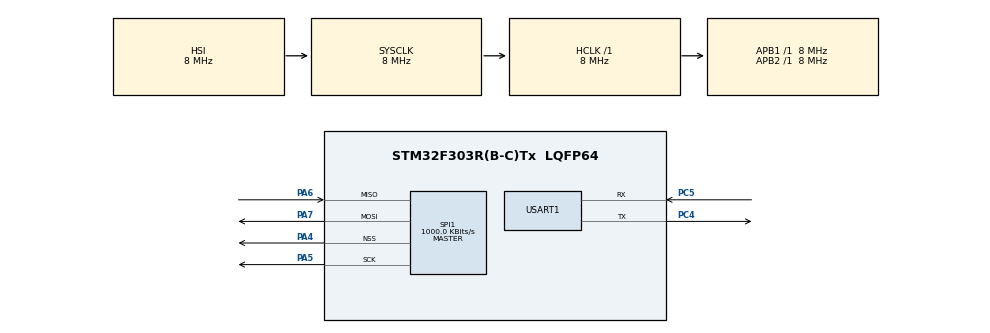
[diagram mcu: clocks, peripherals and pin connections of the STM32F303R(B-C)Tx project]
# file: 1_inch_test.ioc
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Dma.Request0=USART1_TX
Dma.Request1=SPI1_TX
Dma.SPI1_TX.1.Direction=DMA_MEMORY_TO_PERIPH
Dma.SPI1_TX.1.Instance=DMA1_Channel3
Dma.SPI1_TX.1.MemDataAlignment=DMA_MDATAALIGN_BYTE
Dma.SPI1_TX.1.MemInc=DMA_MINC_ENABLE
Dma.SPI1_TX.1.Mode=DMA_NORMAL
Dma.SPI1_TX.1.PeriphDataAlignment=DMA_PDATAALIGN_BYTE
Dma.SPI1_TX.1.PeriphInc=DMA_PINC_DISABLE
Dma.SPI1_TX.1.Priority=DMA_PRIORITY_LOW
Dma.USART1_TX.0.Direction=DMA_MEMORY_TO_PERIPH
Dma.USART1_TX.0.Instance=DMA1_Channel4
Dma.USART1_TX.0.MemDataAlignment=DMA_MDATAALIGN_BYTE
Dma.USART1_TX.0.MemInc=DMA_MINC_ENABLE
Dma.USART1_TX.0.Mode=DMA_NORMAL
Dma.USART1_TX.0.PeriphDataAlignment=DMA_PDATAALIGN_BYTE
Dma.USART1_TX.0.PeriphInc=DMA_PINC_DISABLE
Dma.USART1_TX.0.Priority=DMA_PRIORITY_LOW
FREERTOS.BinarySemaphores01=spi_txrx_cplt_,Static,spi_txrx_cplt_ControlBlock;usart_tx_event,Static,usart_txc_eventControlBlock;usart_rx_event,Static,usart_rx_eventControlBlock;spi_rx_cplt,Static,spi_rx_cpltControlBlock
FREERTOS.Queues01=usart_to_spi,10,uint8_t,0,Dynamic,NULL,NULL;spi_to_usart,10,uint8_t,0,Dynamic,NULL,NULL
FREERTOS.Tasks01=defaultTask,0,128,StartDefaultTask,Default,NULL,Dynamic,NULL,NULL;spi_task,2,512,spi_handle_function,Default,NULL,Dynamic,NULL,NULL;usart_task,0,512,usart_handle_function,Default,NULL,Dynamic,NULL,NULL
FREERTOS.configMAX_PRIORITIES=8
FREERTOS.configTOTAL_HEAP_SIZE=8192
FREERTOS.configUSE_COUNTING_SEMAPHORES=1
Mcu.Family=STM32F3
Mcu.Name=STM32F303R(B-C)Tx
Mcu.Package=LQFP64
NVIC.DMA1_Channel3_IRQn=true\:5\:0\:false\:false\:true\:true\:false\:true\:true
NVIC.DMA1_Channel4_IRQn=true\:5\:0\:false\:false\:true\:true\:false\:true\:true
NVIC.PriorityGroup=NVIC_PRIORITYGROUP_4
NVIC.SPI1_IRQn=true\:5\:0\:false\:false\:true\:true\:true\:true\:true
NVIC.USART1_IRQn=true\:5\:0\:false\:false\:true\:true\:true\:true\:true
PA4.Mode=NSS_Signal_Hard_Output
PA4.Signal=SPI1_NSS
PA5.Mode=Full_Duplex_Master
PA5.Signal=SPI1_SCK
PA6.Mode=Full_Duplex_Master
PA6.Signal=SPI1_MISO
PA7.Mode=Full_Duplex_Master
PA7.Signal=SPI1_MOSI
PC4.Mode=Asynchronous
PC4.Signal=USART1_TX
PC5.Mode=Asynchronous
PC5.Signal=USART1_RX
ProjectManager.HeapSize=0x200
ProjectManager.StackSize=0x400
ProjectManager.TargetToolchain=STM32CubeIDE
RCC.AHBFreq_Value=8000000
RCC.APB1Freq_Value=8000000
RCC.APB2Freq_Value=8000000
RCC.CortexFreq_Value=8000000
RCC.HSE_VALUE=8000000
RCC.HSI_VALUE=8000000
RCC.LSE_VALUE=32768
RCC.SYSCLKFreq_VALUE=8000000
SPI1.BaudRatePrescaler=SPI_BAUDRATEPRESCALER_8
SPI1.CalculateBaudRate=1000.0 KBits/s
SPI1.DataSize=SPI_DATASIZE_8BIT
SPI1.Direction=SPI_DIRECTION_2LINES
SPI1.Mode=SPI_MODE_MASTER
SPI1.VirtualNSS=VM_NSSHARD
SPI1.VirtualType=VM_MASTER
USART1.VirtualMode-Asynchronous=VM_ASYNC
VP_FREERTOS_VS_CMSIS_V1.Mode=CMSIS_V1
board=custom

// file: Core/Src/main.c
/* USER CODE BEGIN Header */
/**
  ******************************************************************************
  * @file           : main.c
  * @brief          : Main program body
  ******************************************************************************
  * @attention
  *
  * Copyright (c) 2024 STMicroelectronics.
  * All rights reserved.
  *
  * This software is licensed under terms that can be found in the LICENSE file
  * in the root directory of this software component.
  * If no LICENSE file comes with this software, it is provided AS-IS.
  *
  ******************************************************************************
  */
/* USER CODE END Header */
#include "main.h"
#include "cmsis_os.h"

/* USER CODE BEGIN Includes */
#include <stdio.h>
#include <stdlib.h>
#include <stdbool.h>
/* USER CODE END Includes */

/* USER CODE BEGIN PTD */
#define SPI_TO_USART_QUEUE_LENGTH	10
#define USART_TO_SPI_QUEUE_LENGTH	10
#define BINARY_SEMAPHORE_LENGTH	1
#define SPI_POLLING_DELAY  100
/* USER CODE END PTD */

SPI_HandleTypeDef hspi1;
DMA_HandleTypeDef hdma_spi1_tx;

UART_HandleTypeDef huart1;
DMA_HandleTypeDef hdma_usart1_tx;

osThreadId defaultTaskHandle;
osThreadId spi_taskHandle;
osThreadId usart_taskHandle;
osMessageQId usart_to_spiHandle;
osMessageQId spi_to_usartHandle;
osSemaphoreId spi_txrx_cplt_Handle;
osStaticSemaphoreDef_t spi_txrx_cplt_ControlBlock;
osSemaphoreId usart_tx_eventHandle;
osStaticSemaphoreDef_t usart_txc_eventControlBlock;
osSemaphoreId usart_rx_eventHandle;
osStaticSemaphoreDef_t usart_rx_eventControlBlock;
osSemaphoreId spi_rx_cpltHandle;
osStaticSemaphoreDef_t spi_rx_cpltControlBlock;
/* USER CODE BEGIN PV */
QueueSetHandle_t xQueueSet;

/* USER CODE END PV */

void SystemClock_Config(void);
static void MX_GPIO_Init(void);
static void MX_DMA_Init(void);
static void MX_SPI1_Init(void);
static void MX_USART1_UART_Init(void);
void StartDefaultTask(void const * argument);
void spi_handle_function(void const * argument);
void usart_handle_function(void const * argument);

/* USER CODE BEGIN PFP */
#define PUTCHAR_PROTOTYPE int __io_putchar(int ch)
/* USER CODE END PFP */

/* USER CODE BEGIN 0 */
#define BUNDLE_SIZE 64u
/* USER CODE END 0 */

int main(void)
{

  /* MCU Configuration--------------------------------------------------------*/

  /* Reset of all peripherals, Initializes the Flash interface and the Systick. */
  HAL_Init();

  /* Configure the system clock */
  SystemClock_Config();

  /* Initialize all configured peripherals */
  MX_GPIO_Init();
  MX_DMA_Init();
  MX_SPI1_Init();
  MX_USART1_UART_Init();

  /* Create the semaphores(s) */
  /* definition and creation of spi_txrx_cplt_ */
  osSemaphoreStaticDef(spi_txrx_cplt_, &spi_txrx_cplt_ControlBlock);
  spi_txrx_cplt_Handle = osSemaphoreCreate(osSemaphore(spi_txrx_cplt_), 1);

  /* definition and creation of usart_tx_event */
  osSemaphoreStaticDef(usart_tx_event, &usart_txc_eventControlBlock);
  usart_tx_eventHandle = osSemaphoreCreate(osSemaphore(usart_tx_event), 1);

  /* definition and creation of usart_rx_event */
  osSemaphoreStaticDef(usart_rx_event, &usart_rx_eventControlBlock);
  usart_rx_eventHandle = osSemaphoreCreate(osSemaphore(usart_rx_event), 1);

  /* definition and creation of spi_rx_cplt */
  osSemaphoreStaticDef(spi_rx_cplt, &spi_rx_cpltControlBlock);
  spi_rx_cpltHandle = osSemaphoreCreate(osSemaphore(spi_rx_cplt), 1);

  /* Create the queue(s) */
  /* definition and creation of usart_to_spi */

  /* USER CODE BEGIN RTOS_QUEUES */
  /* Create the queue(s) */
  /* definition and creation of usart_to_spi */
  osMessageQDef(usart_to_spi, USART_TO_SPI_QUEUE_LENGTH, uint8_t*);
  usart_to_spiHandle = osMessageCreate(osMessageQ(usart_to_spi), NULL);

  /* definition and creation of spi_to_usart */
  osMessageQDef(spi_to_usart,SPI_TO_USART_QUEUE_LENGTH , uint8_t*);
  spi_to_usartHandle = osMessageCreate(osMessageQ(spi_to_usart), NULL);
  /* USER CODE END RTOS_QUEUES */

  /* Create the thread(s) */
  /* definition and creation of defaultTask */
  osThreadDef(defaultTask, StartDefaultTask, osPriorityNormal, 0, 128);
  defaultTaskHandle = osThreadCreate(osThread(defaultTask), NULL);

  /* definition and creation of spi_task */
  osThreadDef(spi_task, spi_handle_function, osPriorityHigh, 0, 512);
  spi_taskHandle = osThreadCreate(osThread(spi_task), NULL);

  /* definition and creation of usart_task */
  osThreadDef(usart_task, usart_handle_function, osPriorityNormal, 0, 512);
  usart_taskHandle = osThreadCreate(osThread(usart_task), NULL);

  /* Start scheduler */
  osKernelStart();

  /* We should never get here as control is now taken by the scheduler */

  /* Infinite loop */
  while (1)
  {

  }
}

void SystemClock_Config(void)
{
  RCC_OscInitTypeDef RCC_OscInitStruct = {0};
  RCC_ClkInitTypeDef RCC_ClkInitStruct = {0};
  RCC_PeriphCLKInitTypeDef PeriphClkInit = {0};

  /** Initializes the RCC Oscillators according to the specified parameters
  * in the RCC_OscInitTypeDef structure.
  */
  RCC_OscInitStruct.OscillatorType = RCC_OSCILLATORTYPE_HSI;
  RCC_OscInitStruct.HSIState = RCC_HSI_ON;
  RCC_OscInitStruct.HSICalibrationValue = RCC_HSICALIBRATION_DEFAULT;
  RCC_OscInitStruct.PLL.PLLState = RCC_PLL_NONE;
  if (HAL_RCC_OscConfig(&RCC_OscInitStruct) != HAL_OK)
  {
    Error_Handler();
  }

  /** Initializes the CPU, AHB and APB buses clocks
  */
  RCC_ClkInitStruct.ClockType = RCC_CLOCKTYPE_HCLK|RCC_CLOCKTYPE_SYSCLK
                              |RCC_CLOCKTYPE_PCLK1|RCC_CLOCKTYPE_PCLK2;
  RCC_ClkInitStruct.SYSCLKSource = RCC_SYSCLKSOURCE_HSI;
  RCC_ClkInitStruct.AHBCLKDivider = RCC_SYSCLK_DIV1;
  RCC_ClkInitStruct.APB1CLKDivider = RCC_HCLK_DIV1;
  RCC_ClkInitStruct.APB2CLKDivider = RCC_HCLK_DIV1;

  if (HAL_RCC_ClockConfig(&RCC_ClkInitStruct, FLASH_LATENCY_0) != HAL_OK)
  {
    Error_Handler();
  }
  PeriphClkInit.PeriphClockSelection = RCC_PERIPHCLK_USART1;
  PeriphClkInit.Usart1ClockSelection = RCC_USART1CLKSOURCE_PCLK2;
  if (HAL_RCCEx_PeriphCLKConfig(&PeriphClkInit) != HAL_OK)
  {
    Error_Handler();
  }
}

static void MX_SPI1_Init(void)
{

  /* SPI1 parameter configuration*/
  hspi1.Instance = SPI1;
  hspi1.Init.Mode = SPI_MODE_MASTER;
  hspi1.Init.Direction = SPI_DIRECTION_2LINES;
  hspi1.Init.DataSize = SPI_DATASIZE_8BIT;
  hspi1.Init.CLKPolarity = SPI_POLARITY_LOW;
  hspi1.Init.CLKPhase = SPI_PHASE_1EDGE;
  hspi1.Init.NSS = SPI_NSS_HARD_OUTPUT;
  hspi1.Init.BaudRatePrescaler = SPI_BAUDRATEPRESCALER_8;
  hspi1.Init.FirstBit = SPI_FIRSTBIT_MSB;
  hspi1.Init.TIMode = SPI_TIMODE_DISABLE;
  hspi1.Init.CRCCalculation = SPI_CRCCALCULATION_DISABLE;
  hspi1.Init.CRCPolynomial = 7;
  hspi1.Init.CRCLength = SPI_CRC_LENGTH_DATASIZE;
  hspi1.Init.NSSPMode = SPI_NSS_PULSE_ENABLE;
  if (HAL_SPI_Init(&hspi1) != HAL_OK)
  {
    Error_Handler();
  }

}

static void MX_USART1_UART_Init(void)
{

  huart1.Instance = USART1;
  huart1.Init.BaudRate = 38400;
  huart1.Init.WordLength = UART_WORDLENGTH_8B;
  huart1.Init.StopBits = UART_STOPBITS_1;
  huart1.Init.Parity = UART_PARITY_NONE;
  huart1.Init.Mode = UART_MODE_TX_RX;
  huart1.Init.HwFlowCtl = UART_HWCONTROL_NONE;
  huart1.Init.OverSampling = UART_OVERSAMPLING_16;
  huart1.Init.OneBitSampling = UART_ONE_BIT_SAMPLE_DISABLE;
  huart1.AdvancedInit.AdvFeatureInit = UART_ADVFEATURE_NO_INIT;
  if (HAL_UART_Init(&huart1) != HAL_OK)
  {
    Error_Handler();
  }

}

static void MX_DMA_Init(void)
{

  /* DMA controller clock enable */
  __HAL_RCC_DMA1_CLK_ENABLE();

  /* DMA interrupt init */
  /* DMA1_Channel3_IRQn interrupt configuration */
  HAL_NVIC_SetPriority(DMA1_Channel3_IRQn, 5, 0);
  HAL_NVIC_EnableIRQ(DMA1_Channel3_IRQn);
  /* DMA1_Channel4_IRQn interrupt configuration */
  HAL_NVIC_SetPriority(DMA1_Channel4_IRQn, 5, 0);
  HAL_NVIC_EnableIRQ(DMA1_Channel4_IRQn);

}

static void MX_GPIO_Init(void)
{

  /* GPIO Ports Clock Enable */
  __HAL_RCC_GPIOA_CLK_ENABLE();
  __HAL_RCC_GPIOC_CLK_ENABLE();

}

/* USER CODE BEGIN 4 */

/**
  * @brief  Retargets the C library printf function to the USART.
  *   None
  * @retval None
  */
PUTCHAR_PROTOTYPE
{
  // определить логгирование
  return ch;
}

void HAL_SPI_TxRxCpltCallback(SPI_HandleTypeDef *hspi)
{
  if(hspi == &hspi1)
  {
	  osSemaphoreRelease(spi_txrx_cplt_Handle);
  }
}

void HAL_SPI_ErrorCallback(SPI_HandleTypeDef *hspi)
{
	if(hspi == &hspi1)
	{
		osSemaphoreRelease(spi_txrx_cplt_Handle);
		puts("Error spi transmission");
	}
}

void HAL_UARTEx_RxEventCallback(UART_HandleTypeDef *huart, uint16_t Size)
{
	if(huart == &huart1)
	{
		osSemaphoreRelease(usart_rx_eventHandle);
	}
}

void HAL_UART_TxCpltCallback(UART_HandleTypeDef *huart)
{
	if(huart == &huart1)
	{
		osSemaphoreRelease(usart_tx_eventHandle);
	}
}

void HAL_UART_ErrorCallback(UART_HandleTypeDef *huart)
{
	if(huart == &huart1)
	{
		osSemaphoreRelease(usart_rx_eventHandle);
		puts("Error usart transmission");
	}
}

/* USER CODE END 4 */

void StartDefaultTask(void const * argument)
{
  for(;;)
  {
    osDelay(1);
  }
}

void spi_handle_function(void const * argument)
{
  /* USER CODE BEGIN spi_handle_function */
  uint8_t * byte;								// указатель на текущий элемент приёмного буфера
  uint8_t  *rx_buffer = malloc(BUNDLE_SIZE);	// указатель на временно аллоцирумую память приёмного буфера
  assert(rx_buffer);						    // такого происходить не должно и должно вылавливаться на стадии дебага
  uint8_t  rx_buffer_itt = 0;					// итератор приёмного буфера

  uint8_t * tx_buffer;							// указатель на буфер передачи

  bool transmission = false;					// флаг о необходимости помещения временного буфера в очередь

  bool full_frame_received_from_uart = true;

  /*!
   *  Составление сета из блокировки на очереди и семафоре/мютексе конца передачи по SPI
   */
  QueueSetHandle_t xQueueSet;
  xQueueSet = xQueueCreateSet( USART_TO_SPI_QUEUE_LENGTH + BINARY_SEMAPHORE_LENGTH);
  xQueueAddToSet(usart_to_spiHandle, xQueueSet);
  xQueueAddToSet(spi_txrx_cplt_Handle, xQueueSet);
  QueueSetMemberHandle_t xActivatedMember;
  for(;;)
  {
	  xActivatedMember = xQueueSelectFromSet( xQueueSet, SPI_POLLING_DELAY);

	  if ( xActivatedMember == usart_to_spiHandle )
	  {
		  /*!
		   *  проверка типа события. Либо в очереди появился новый элемент и мы должны его передать в SPI Slave.
		   *  Либо сработал семафор конца передачи по DMA или ISR
		   */
		  osEvent event = osMessageGet(usart_to_spiHandle, 10);
		  if (osEventMessage == event.status)
		  {
			  tx_buffer = event.value.p;

			  full_frame_received_from_uart = true;

			  if (NULL == tx_buffer[tx_buffer[0]])
			  {
				  //проверка, хранится ли в буффере frame полного размера или frame разбит на части
				  full_frame_received_from_uart = false;
			  }
			  else
			  {
				  full_frame_received_from_uart = true;
			  }
			  HAL_SPI_TransmitReceive_DMA(&hspi1, &tx_buffer[1], &tx_buffer[1], tx_buffer[0]);
		  }

	  } else if (xActivatedMember == spi_txrx_cplt_Handle){
		  /*!
		   *  Если  tx_buffer не NULL, значит семафор сработал на конец передачи по DMA , а не по ISR.
		   *  Проверяем пришли ли какие либо данные за время передачи.
		   *  При необходимости переносим данные в  приёмный буфер вместе с символом конца строки.
		   *  Если буфер закончился без символа конца строки, то просто добираем фрейм через ISR,
		   *  либо добавляем в очередь при переполнении буфера.
		   *  Подразумеваем , что за один обмен Spi Slave передаст не более одного фрейма.
		   */
		  if (tx_buffer)
		  {
			  uint16_t itt = 0;
			  while(++itt < tx_buffer[0])
			  {
				  if(tx_buffer[itt])
				  {
					  rx_buffer[++rx_buffer_itt] = tx_buffer[itt];
				  }
				  else
				  {
					  rx_buffer[++rx_buffer_itt] = 0;
					  transmission = true;
				  }
			  }
			  if(BUNDLE_SIZE < itt) transmission = true;
			  free(tx_buffer);
			  tx_buffer = NULL;
		  }
		  else
		  {
			  if (!byte)
			  {
				  if (rx_buffer_itt)
				  {
					 transmission = true;
					 rx_buffer[0]=rx_buffer_itt - 1;
					 rx_buffer_itt = 0;
				  }
			  }
			  else
			  {
				  if(BUNDLE_SIZE < rx_buffer_itt) transmission = true;
			  }

			  /*!
			   *  взводим новый сеанс приемопередачи по прерыванию если фрейм ещё не получен.
			   * если полный фрейм не получен от UART , то вычитка SPI Slave не производится,
			   * чтобы не нарушать нуль терминированный протокол
			   * В этом случае продолжается ожидание остальной части пакета от UART
			   */
			  if ((full_frame_received_from_uart) && (rx_buffer_itt))
			  {
					byte = &rx_buffer[++rx_buffer_itt];
					HAL_SPI_TransmitReceive_IT(&hspi1,byte, byte, 1);
			  }
		  }

		  /*!
		   *  В случае переполнения аллоцированного буфера или события конца строки - добавляем буфер в очередь
		   */
		  if (transmission)
		  {
			  if (osOK != osMessagePut(spi_to_usartHandle, *(uint32_t*)rx_buffer, 100 / portTICK_PERIOD_MS))
			  {
				  puts("Error  spi_to_usart QUEUE inserting");
			  }

			  rx_buffer = malloc(BUNDLE_SIZE); // аллоцируем новый приемный буфер
			  if(!rx_buffer)
			  {
				  puts("Your heap is too small");
				  assert(0); // здесь можно упасть в бесконечный цикл, упасть в HF и сделать backtrace, сохранив его в память.
			  }
		  }

      } else
      {
		  /*!
		   *  взводим новый сеанс приемопередачи по прерыванию по таймауту,
		   *  который возникнет если не будет новой посылки по UART
		   *  Данный метод нужен изза того, что устройство SPI slave можете передавать асинхронно.
		   *  Время реакции на событие SPI Slave равно времени таймаута + накладные издержки времени.
		   *  если полный фрейм не получен от UART , то вычитка SPI Slave не производится,
		   *  чтобы не нарушать нуль терминированный протокол
		   *  В этом случае продолжается ожидание остальной части пакета от UART
		   */
		  if (full_frame_received_from_uart)
		  {
	    	  byte = &rx_buffer[++rx_buffer_itt];
	    	  HAL_SPI_TransmitReceive_IT(&hspi1,byte, byte, 1);
		  }
      }
  }
  /* USER CODE END spi_handle_function */
}

void usart_handle_function(void const * argument)
{
  /* USER CODE BEGIN usart_handle_function */
  uint8_t * tx_buffer;						   // указатель на буфер передачи

  uint8_t  *rx_buffer = malloc(BUNDLE_SIZE);   // указатель на временно аллоцирумую память приёмного буфера
  uint8_t  buffer_itt = 0;                     // итератор приёмного буфера

  uint8_t byte;								   // буферная переменная для приёма по ISR

  /*!
   *  Составление сета из блокировки на очереди и семафорах /мютексах конца передачи и приёма
   */
  QueueSetHandle_t xQueueSet;
  xQueueSet = xQueueCreateSet( SPI_TO_USART_QUEUE_LENGTH + BINARY_SEMAPHORE_LENGTH + BINARY_SEMAPHORE_LENGTH );
  xQueueAddToSet(spi_to_usartHandle, xQueueSet);
  xQueueAddToSet(usart_rx_eventHandle, xQueueSet);
  xQueueAddToSet(usart_tx_eventHandle, xQueueSet);
  QueueSetMemberHandle_t xActivatedMember;
  bool transmission = false;

  /*!
   *  взводим прерывание приёма по ISR для одной переменной т.к. размер фрейма динамический.
   */
  HAL_UART_Receive_IT(&huart1, &byte, 1);
  /* Infinite loop */
  for(;;)
  {
	  xActivatedMember = xQueueSelectFromSet( xQueueSet, 100 / portTICK_PERIOD_MS);
	  if (xActivatedMember == usart_tx_eventHandle ) {

	  		  /*!
	  		   *  по концу передачи разблокируемся и освобождаем буфер.
	  		   *  важно проверять это событие до события очереди чтобы избежать OVERRUN и утечки памяти.
	  		   */
	  		  free(tx_buffer);
	  		  tx_buffer = NULL;
	  } else if ( xActivatedMember == spi_to_usartHandle ) {
		  /*!
		   *   разблокированы по событию очереди.
		   *   отправяем фрейм в DMA.
		   *   в первом байте буфера хранится размер данных буфера или всего фрейма ,
		   *   если он меньше размера буфера
		   */
		  osEvent event = osMessageGet(spi_to_usartHandle, 10);
		  if (osEventMessage == event.status)
		  {
			  tx_buffer = event.value.p;
			  HAL_UART_Transmit_DMA(&huart1,&tx_buffer[1], tx_buffer[0]);
		  }

	  } else if (xActivatedMember == usart_rx_eventHandle ) {
		  /*!
		   *  событие конца приёма в буферную переменную

		   */
		if (byte)
		{
			/*!
			 *  Если байт не нулевой, то происходит заполнение приёмного буфера
			 *  В случае переполнения иницируется добавление буфера в очередь
			 */
			rx_buffer[++buffer_itt]= byte;
			if(BUNDLE_SIZE < buffer_itt)
			{
				rx_buffer[0]=buffer_itt - 1;
				transmission = true;
			}
		}
		else
		{
			/*!
			 *  Прихода конца строки ,
			 *  запись в буфер и инициация добавления в очередь
			 *
			*/
			rx_buffer[++buffer_itt] = byte;
			rx_buffer[0]=buffer_itt - 1;
			transmission = true;
		}

		if (transmission)
		{
			if (osOK != osMessagePut(usart_to_spiHandle, *(uint32_t*)rx_buffer, 100 / portTICK_PERIOD_MS))
			{
				puts("Error  usart to spi  QUEUE inserting");
			}
			/*!
			 *  аллоцируем новый буфер.
			*/
			rx_buffer = malloc(BUNDLE_SIZE);
			if(!rx_buffer)
			{
				puts("Your heap is too small");
				assert(0); // здесь можно упасть в бесконечный цикл, упасть в HF и сделать backtrace, сохранив его куда то.
			}
			buffer_itt = 0;
			transmission = false;
		}

		HAL_UART_Receive_IT(&huart1, &byte, 1); // взводим прерывание по приёму
	  };
  }
  /* USER CODE END usart_handle_function */
}

void Error_Handler(void)
{
  __disable_irq();
  while (1)
  {
  }
}
